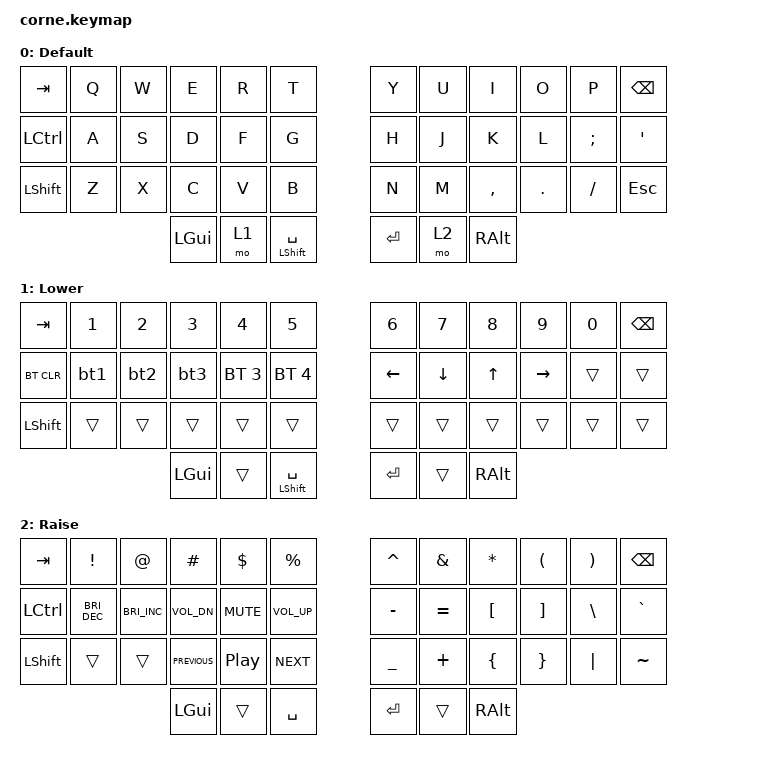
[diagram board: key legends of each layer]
/*
 * Copyright (c) 2020 The ZMK Contributors
 *
 * SPDX-License-Identifier: MIT
 */

#include <behaviors.dtsi>
#include <dt-bindings/zmk/bt.h>
#include <dt-bindings/zmk/keys.h>

/ {
    behaviors {
        holdortap: holdortap {
            compatible = "zmk,behavior-hold-tap";
            label = "HOLDORTAP";
            bindings = <&kp>, <&kp>;

            #binding-cells = <2>;
            tapping-term-ms = <200>;
        };
    };

    combos {
        compatible = "zmk,combos";

        jk-esc {
            bindings = <&kp ESCAPE>;
            key-positions = <19 20>;
            layers = <0>;
        };

        go_back {
            bindings = <&kp LG(LEFT)>;
            key-positions = <36 18>;
        };

        go_next {
            bindings = <&kp LG(RIGHT)>;
            key-positions = <36 21>;
        };

        lock_pc {
            bindings = <&kp K_POWER>;
            key-positions = <19 20 36>;
        };
    };

    macros {
        bt1: bt1 {
            compatible = "zmk,behavior-macro";
            #binding-cells = <0>;
            bindings = <&kp LG(RA(NUMBER_1)) &bt BT_SEL 0>;
            label = "BT1";
        };

        bt2: bt2 {
            compatible = "zmk,behavior-macro";
            #binding-cells = <0>;
            bindings = <&kp LG(RA(NUMBER_2)) &bt BT_SEL 1>;
            label = "BT2";
        };

        bt3: bt3 {
            compatible = "zmk,behavior-macro";
            #binding-cells = <0>;
            bindings = <&kp LG(RA(NUMBER_3)) &bt BT_SEL 2>;
            label = "BT3";
        };
    };

    keymap {
        compatible = "zmk,keymap";

        default_layer {
            // -----------------------------------------------------------------------------------------
            // |  TAB |  Q  |  W  |  E  |  R  |  T  |   |  Y  |  U   |  I  |  O  |  P  | BKSP |
            // | CTRL |  A  |  S  |  D  |  F  |  G  |   |  H  |  J   |  K  |  L  |  ;  |  '   |
            // | SHFT |  Z  |  X  |  C  |  V  |  B  |   |  N  |  M   |  ,  |  .  |  /  | ESC  |
            //                    | GUI | LWR | SPC |   | ENT | RSE  | ALT |

            bindings = <
&kp TAB    &kp Q  &kp W  &kp E     &kp R  &kp T                      &kp Y    &kp U  &kp I      &kp O    &kp P     &kp BSPC
&kp LCTRL  &kp A  &kp S  &kp D     &kp F  &kp G                      &kp H    &kp J  &kp K      &kp L    &kp SEMI  &kp SQT
&kp LSHFT  &kp Z  &kp X  &kp C     &kp V  &kp B                      &kp N    &kp M  &kp COMMA  &kp DOT  &kp FSLH  &kp ESC
                         &kp LGUI  &mo 1  &holdortap LSHIFT SPACE    &kp RET  &mo 2  &kp RALT
            >;

            label = "Default";
        };

        lower_layer {
            // -----------------------------------------------------------------------------------------
            // |  TAB |  1  |  2  |  3  |  4  |  5  |   |  6  |  7  |  8  |  9  |  0  | BKSP |
            // | BTCLR| BT1 | BT2 | BT3 | BT4 | BT5 |   | LFT | DWN |  UP | RGT |     |      |
            // | SHFT |     |     |     |     |     |   |     |     |     |     |     |      |
            //                    | GUI |     | SPC |   | ENT |     | ALT |

            bindings = <
&kp TAB    &kp N1  &kp N2  &kp N3    &kp N4        &kp N5                     &kp N6    &kp N7    &kp N8    &kp N9     &kp N0  &kp BSPC
&bt BT_CLR &bt1    &bt2    &bt3      &bt BT_SEL 3  &bt BT_SEL 4               &kp LEFT  &kp DOWN  &kp UP    &kp RIGHT  &trans  &trans
&kp LSHFT  &trans  &trans  &trans    &trans        &trans                     &trans    &trans    &trans    &trans     &trans  &trans
                           &kp LGUI  &trans        &holdortap LSHIFT SPACE    &kp RET   &trans    &kp RALT
            >;

            label = "Lower";
        };

        raise_layer {
            // -----------------------------------------------------------------------------------------
            // |  TAB |  !  |  @  |  #  |  $  |  %  |   |  ^  |  &  |  *  |  (  |  )  | BKSP |
            // | CTRL |     |     |     |     |     |   |  -  |  =  |  [  |  ]  |  \  |  `   |
            // | SHFT |     |     |     |     |     |   |  _  |  +  |  {  |  }  | "|" |  ~   |
            //                    | GUI |     | SPC |   | ENT |     | ALT |

            bindings = <
&kp TAB    &kp EXCL              &kp AT                &kp HASH        &kp DLLR          &kp PRCNT          &kp CARET  &kp AMPS   &kp ASTRK  &kp LPAR  &kp RPAR  &kp BSPC
&kp LCTRL  &kp C_BRIGHTNESS_DEC  &kp C_BRIGHTNESS_INC  &kp C_VOL_DN    &kp C_MUTE        &kp C_VOLUME_UP    &kp MINUS  &kp EQUAL  &kp LBKT   &kp RBKT  &kp BSLH  &kp GRAVE
&kp LSHFT  &trans                &trans                &kp C_PREVIOUS  &kp C_PLAY_PAUSE  &kp C_NEXT         &kp UNDER  &kp PLUS   &kp LBRC   &kp RBRC  &kp PIPE  &kp TILDE
                                                       &kp LGUI        &trans            &kp SPACE          &kp RET    &trans     &kp RALT
            >;

            label = "Raise";
        };
    };
};
